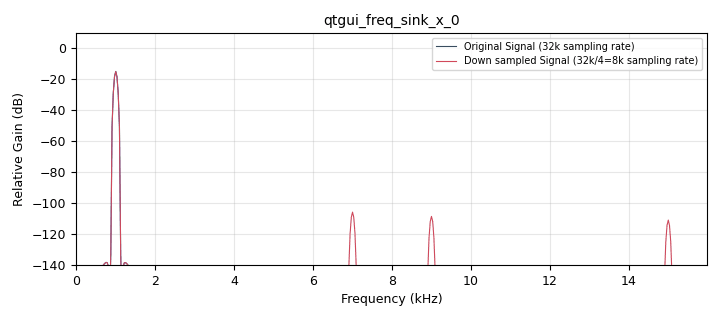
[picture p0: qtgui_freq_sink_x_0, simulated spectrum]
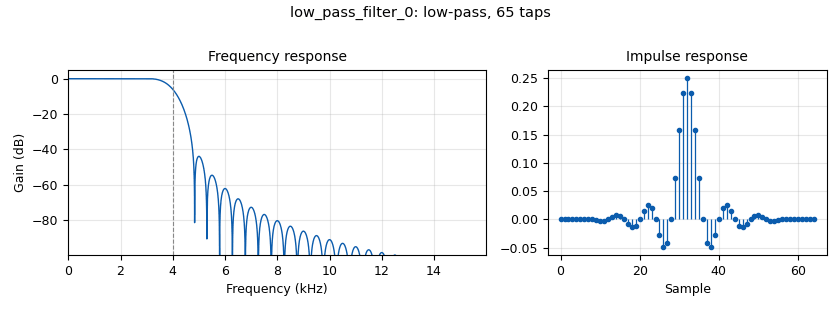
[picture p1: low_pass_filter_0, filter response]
options:
  parameters:
    author: sleepwalker
    generate_options: qt_gui
    id: lab1_4
    output_language: python
    title: Not titled yet
  states: {}

blocks:
- name: freq_a
  id: variable_qtgui_range
  parameters:
    label: Frequency A
    orient: Qt.Horizontal
    start: 1e3
    step: '100'
    stop: samp_rate/2
    value: 1e3
  states: {}
- name: samp_rate
  id: variable
  parameters:
    value: '32000'
  states: {}
- name: analog_sig_source_x_0
  id: analog_sig_source_x
  parameters:
    amp: '1'
    freq: freq_a
    offset: '0'
    phase: '0'
    samp_rate: samp_rate
    type: float
    waveform: analog.GR_COS_WAVE
  states: {}
- name: blocks_deinterleave_0
  id: blocks_deinterleave
  parameters:
    num_streams: '4'
    type: float
  states: {}
- name: blocks_null_sink_0
  id: blocks_null_sink
  parameters:
    num_inputs: '3'
    type: float
  states: {}
- name: blocks_throttle_0
  id: blocks_throttle
  parameters:
    samples_per_second: samp_rate
    type: float
  states: {}
- name: low_pass_filter_0
  id: low_pass_filter
  parameters:
    cutoff_freq: 4e3
    decim: '1'
    gain: '1'
    samp_rate: samp_rate
    type: fir_filter_fff
    width: 1e3
    win: firdes.WIN_HANN
  states: {}
- name: qtgui_freq_sink_x_0
  id: qtgui_freq_sink_x
  parameters:
    bw: samp_rate
    fc: '0'
    fftsize: '1024'
    freqhalf: 'False'
    label1: Original Signal (32k sampling rate)
    label2: Down sampled Signal (32k/4=8k sampling rate)
    nconnections: '2'
    type: float
    wintype: firdes.WIN_BLACKMAN_hARRIS
  states: {}
- name: rational_resampler_xxx_0
  id: rational_resampler_xxx
  parameters:
    decim: '1'
    interp: '4'
    taps: ''
    type: fff
  states: {}

connections:
- [analog_sig_source_x_0, '0', low_pass_filter_0, '0']
- [analog_sig_source_x_0, '0', qtgui_freq_sink_x_0, '0']
- [blocks_deinterleave_0, '0', blocks_throttle_0, '0']
- [blocks_deinterleave_0, '1', blocks_null_sink_0, '0']
- [blocks_deinterleave_0, '2', blocks_null_sink_0, '1']
- [blocks_deinterleave_0, '3', blocks_null_sink_0, '2']
- [blocks_throttle_0, '0', rational_resampler_xxx_0, '0']
- [low_pass_filter_0, '0', blocks_deinterleave_0, '0']
- [rational_resampler_xxx_0, '0', qtgui_freq_sink_x_0, '1']

metadata:
  file_format: 1
